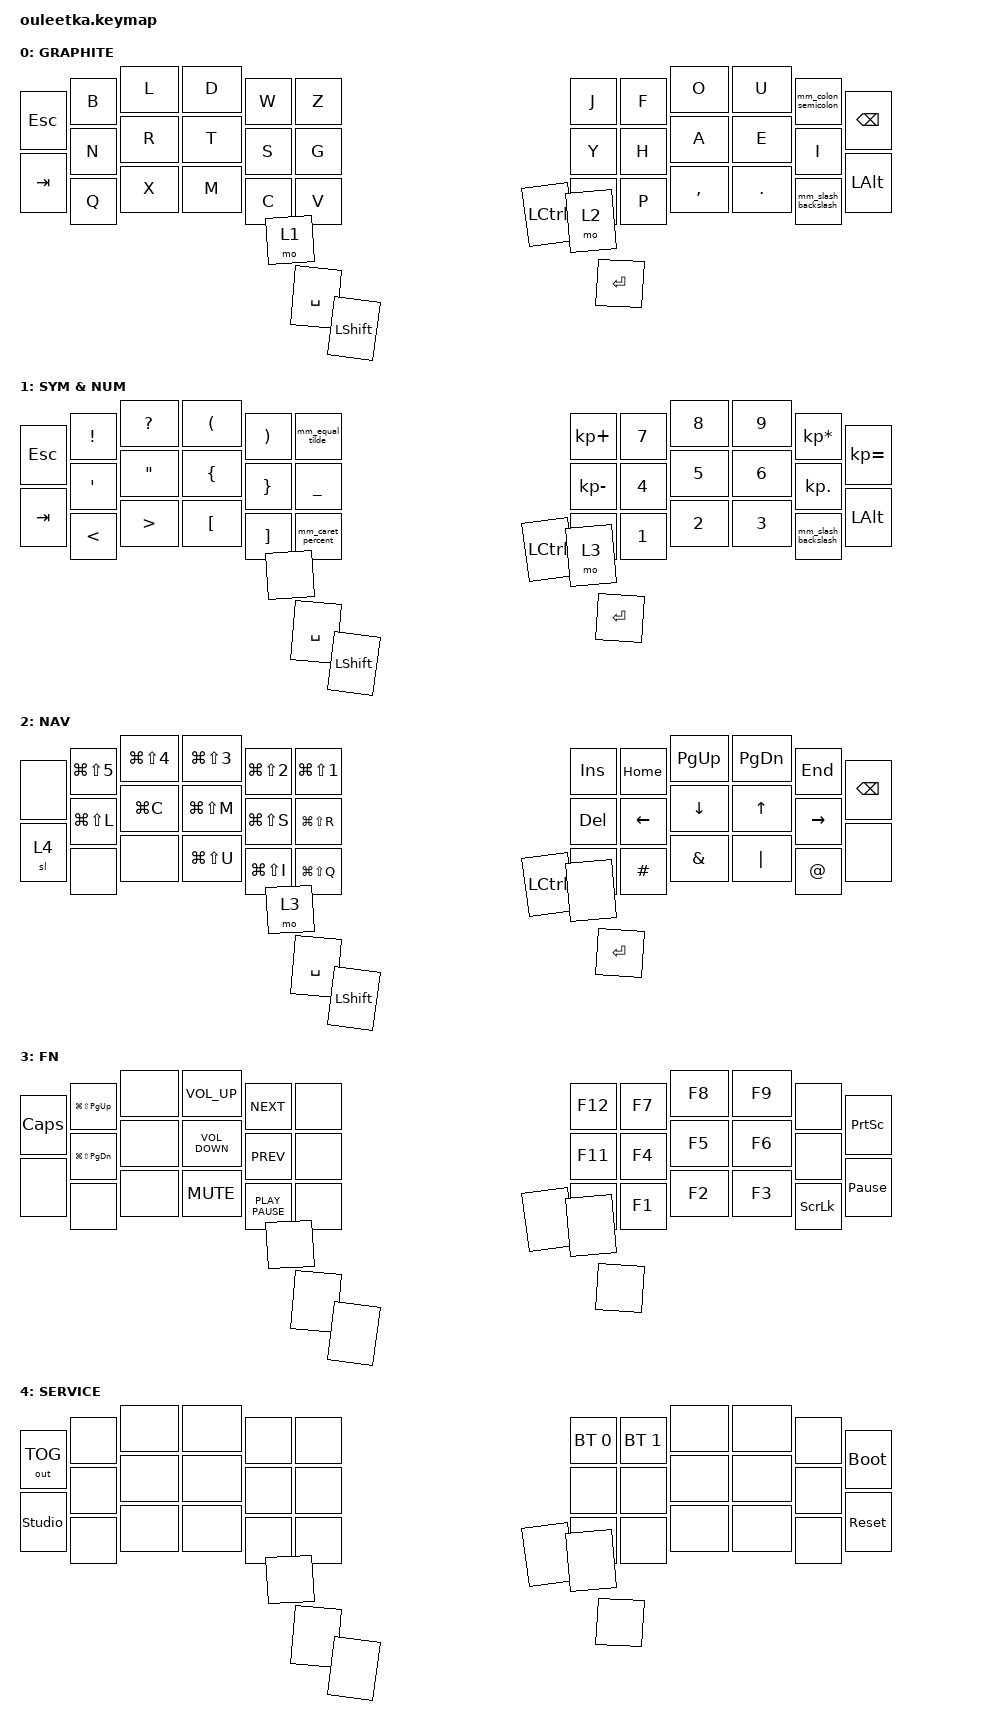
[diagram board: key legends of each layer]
#include <behaviors.dtsi>
#include <dt-bindings/zmk/bt.h>
#include <dt-bindings/zmk/keys.h>
#include <dt-bindings/zmk/outputs.h>

/ {
    behaviors {
        mm_colon_semicolon: mm_colon_semicolon {
            compatible = "zmk,behavior-mod-morph";
            label = "MM_COLON_SEMICOLON";
            bindings = <&kp COLON>, <&kp SEMICOLON>;

            #binding-cells = <0>;
            mods = <(MOD_LSFT|MOD_RSFT)>;
        };

        mm_slash_backslash: mm_slash_backslash {
            compatible = "zmk,behavior-mod-morph";
            label = "MM_SLASH_BACKSLASH";
            bindings = <&kp SLASH>, <&kp BACKSLASH>;

            #binding-cells = <0>;
            mods = <(MOD_LSFT|MOD_RSFT)>;
        };

        mm_equal_tilde: mm_equal_tilde {
            compatible = "zmk,behavior-mod-morph";
            label = "MM_EQUAL_TILDE";
            bindings = <&kp EQUAL>, <&kp TILDE>;

            #binding-cells = <0>;
            mods = <(MOD_LSFT|MOD_RSFT)>;
        };

        mm_caret_percent: mm_caret_percent {
            compatible = "zmk,behavior-mod-morph";
            label = "MM_CARET_PERCENT";
            bindings = <&kp CARET>, <&kp PERCENT>;

            #binding-cells = <0>;
            mods = <(MOD_LSFT|MOD_RSFT)>;
        };
    };

    keymap {
        compatible = "zmk,keymap";

        //             base {
        //                 bindings = <
        //          &kp Q  &kp W  &kp E  &kp R      &kp T             &kp Y  &kp U      &kp I      &kp O    &kp P
        // &kp ESC  &kp A  &kp S  &kp D  &kp F      &kp G             &kp H  &kp J      &kp K      &kp L    &kp SEMICOLON  &kp BACKSPACE
        // &kp TAB  &kp Z  &kp X  &kp C  &kp V      &kp B             &kp N  &kp M      &kp COMMA  &kp DOT  &kp SLASH      &kp BACKSPACE
        //                        &none  &kp SPACE  &kp LEFT_SHIFT    &kp LEFT_CONTROL  &mo 1  &kp ENTER
        //             >;
        //             label = "QWERTY";
        //         };

        base {
            label = "GRAPHITE";
            bindings = <
         &kp B  &kp L  &kp D  &kp W      &kp Z           &kp J             &kp F  &kp O      &kp U    &mm_colon_semicolon
&kp ESC  &kp N  &kp R  &kp T  &kp S      &kp G           &kp Y             &kp H  &kp A      &kp E    &kp I                &kp BACKSPACE
&kp TAB  &kp Q  &kp X  &kp M  &kp C      &kp V           &kp K             &kp P  &kp COMMA  &kp DOT  &mm_slash_backslash  &kp LALT
                       &mo 1  &kp SPACE  &kp LEFT_SHIFT  &kp LEFT_CONTROL  &mo 2  &kp ENTER
            >;
        };

        sym_num {
            label = "SYM & NUM";
            bindings = <
            &kp EXCL       &kp QUESTION       &kp LEFT_PARENTHESIS  &kp RIGHT_PARENTHESIS  &mm_equal_tilde    &kp KP_PLUS   &kp N7  &kp N8   &kp N9  &kp KP_MULTIPLY
&kp ESCAPE  &kp SQT        &kp DOUBLE_QUOTES  &kp LEFT_BRACE        &kp RIGHT_BRACE        &kp UNDERSCORE     &kp KP_MINUS  &kp N4  &kp N5   &kp N6  &kp KP_DOT           &kp KP_EQUAL
&kp TAB     &kp LESS_THAN  &kp GREATER_THAN   &kp LBKT              &kp RBKT               &mm_caret_percent  &kp N0        &kp N1  &kp N2   &kp N3  &mm_slash_backslash  &kp LEFT_ALT
                                              &none                 &kp SPACE              &kp LSHIFT         &kp LCTRL     &mo 3   &kp RET
            >;
        };

        nav {
            label = "NAV";
            bindings = <
       &kp LG(LS(NUMBER_5))  &kp LG(LS(NUMBER_4))  &kp LG(LS(NUMBER_3))  &kp LG(LS(NUMBER_2))  &kp LG(LS(NUMBER_1))  &kp INSERT  &kp HOME        &kp PAGE_UP     &kp PAGE_DOWN  &kp END
&none  &kp LG(LS(L))         &kp LG(C)             &kp LG(LS(M))         &kp LG(LS(S))         &kp LG(LS(R))         &kp DELETE  &kp LEFT_ARROW  &kp DOWN_ARROW  &kp UP_ARROW   &kp RIGHT_ARROW  &kp BACKSPACE
&sl 4  &none                 &none                 &kp LG(LS(U))         &kp LG(LS(I))         &kp LG(LS(Q))         &kp DOLLAR  &kp HASH        &kp AMPERSAND   &kp PIPE       &kp AT           &none
                                                   &mo 3                 &kp SPACE             &kp LEFT_SHIFT        &kp LCTRL   &none           &kp ENTER
            >;
        };

        fn {
            label = "FN";
            bindings = <
              &kp LG(LS(PG_UP))      &none  &kp K_VOLUME_UP    &kp K_NEXT        &none  &kp F12  &kp F7  &kp F8  &kp F9  &none
&kp CAPSLOCK  &kp LG(LS(PAGE_DOWN))  &none  &kp K_VOLUME_DOWN  &kp K_PREV        &none  &kp F11  &kp F4  &kp F5  &kp F6  &none           &kp PRINTSCREEN
&none         &none                  &none  &kp K_MUTE         &kp K_PLAY_PAUSE  &none  &kp F10  &kp F1  &kp F2  &kp F3  &kp SCROLLLOCK  &kp PAUSE_BREAK
                                            &none              &none             &none  &none    &none   &none
            >;
        };

        svc {
            label = "SERVICE";
            bindings = <
                &none  &none  &none  &none  &none  &bt BT_SEL 0  &bt BT_SEL 1  &none  &none  &none
&out OUT_TOG    &none  &none  &none  &none  &none  &none         &none         &none  &none  &none  &bootloader
&studio_unlock  &none  &none  &none  &none  &none  &bt BT_CLR    &none         &none  &none  &none  &sys_reset
                              &none  &none  &none  &none         &none         &none
            >;
        };
    };
};
